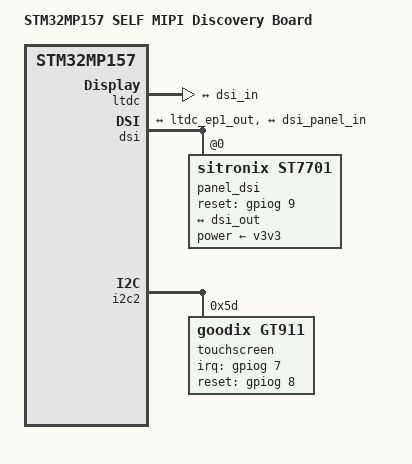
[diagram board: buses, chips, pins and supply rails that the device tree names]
#include "stm32mp157a-self-extend.dts"

/ {
    model = "STM32MP157 SELF MIPI Discovery Board";
    compatible = "st,stm32mp157a-self", "st,stm32mp157";
};

&ltdc {
    status = "okay";
    port {
        #address-cells = <1>;
        #size-cells = <0>;
        ltdc_ep1_out: endpoint@1 {
            reg = <1>;
            remote-endpoint = <&dsi_in>;
        };
    };
};

&dsi {
    #address-cells = <1>;
    #size-cells = <0>;
    status = "okay";
    ports {
        #address-cells = <1>;
        #size-cells = <0>;
        port@0 {
            reg = <0>;
            dsi_in: endpoint {
                remote-endpoint = <&ltdc_ep1_out>;
            };
        };
        port@1 {
            reg = <1>;
            dsi_out: endpoint {
                remote-endpoint = <&dsi_panel_in>;
            };
        };
    };

    panel_dsi: panel-dsi@0 {
        compatible = "sitronix,st7701";
        reg = <0>;
        reset-gpios = <&gpiog 9 GPIO_ACTIVE_HIGH>;
        power-supply = <&v3v3>;
        status = "okay";
        port {
            dsi_panel_in: endpoint {
                remote-endpoint = <&dsi_out>;
            };
        };
    };
};

&i2c2 {
    pinctrl-names = "default", "sleep";
    pinctrl-0 = <&i2c2_pins_a>;
    pinctrl-1 = <&i2c2_sleep_pins_a>;
    i2c-scl-rising-time-ns = <100>;
    i2c-scl-falling-time-ns = <7>;
    status = "okay";
    /delete-property/dmas;
    /delete-property/dma-names;
    touchscreen@5d {
        compatible = "goodix,gt911";
        reg = <0x5d>;
        irq-gpios = <&gpiog 7 (GPIO_ACTIVE_HIGH | GPIO_PULL_UP)>;
        reset-gpios = <&gpiog 8 GPIO_ACTIVE_HIGH>;
        interrupt-parent = <&gpiog>;
        interrupts = <7 IRQ_TYPE_EDGE_FALLING>;
        status = "okay";
        // touchscreen-inverted-x;
        touchscreen-inverted-y;
        // touchscreen-swapped-x-y;
    };
};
